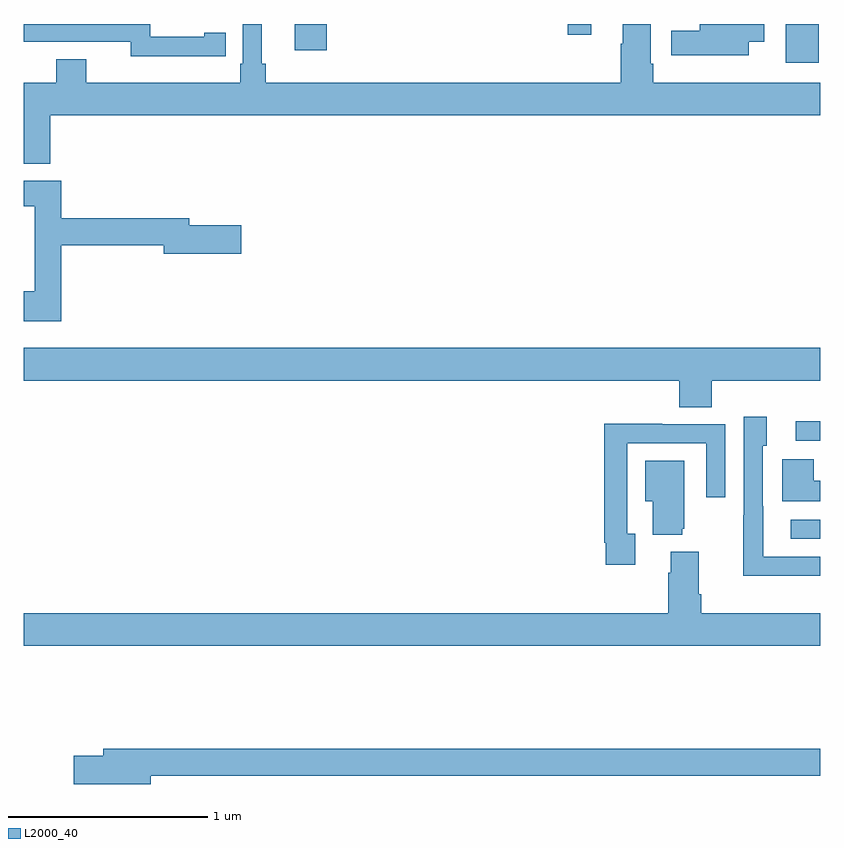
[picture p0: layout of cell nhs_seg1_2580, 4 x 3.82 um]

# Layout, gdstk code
import gdstk
lib = gdstk.Library(unit=1e-6, precision=1e-09)
def R(c, l, rs):  # rectangles x0, y0, x1, y1
    for r in rs: c.add(gdstk.rectangle(r[:2], r[2:], *l))
def P(c, l, *ps):  # polygons
    for p in ps: c.add(gdstk.Polygon(p, *l))
L2000_40 = (2000, 40)

nhs_seg1_2580 = lib.new_cell('nhs_seg1_2580')
R(nhs_seg1_2580, L2000_40, [(254.853,541.614,255,541.71), (254.877,542.106,255,542.204), (254.828,544.005,254.992,544.199), (252.362,544.068,252.521,544.199), (253.732,544.146,253.849,544.199)])
P(nhs_seg1_2580, L2000_40, [(254.641,544.109),(254.719,544.109),(254.719,544.199),(254.394,544.199),(254.394,544.165),(254.253,544.165),(254.253,544.043),(254.641,544.043)],
  [(251.906,544.038),(252.014,544.038),(252.014,544.154),(251.906,544.154),(251.906,544.134),(251.634,544.134),(251.634,544.199),(251,544.199),(251,544.109),(251.078,544.109),(251.078,544.11),(251.538,544.11),(251.538,544.037),(251.906,544.037)],
  [(251.132,543.74),(255,543.74),(255,543.904),(254.162,543.904),(254.162,544),(254.149,544),(254.149,544.199),(254.009,544.199),(254.009,544.1),(253.997,544.1),(253.997,543.904),(252.215,543.904),(252.215,544),(252.196,544),(252.196,544.199),(252.099,544.199),(252.099,544),(252.086,544),(252.086,543.904),(251.314,543.904),(251.314,544.021),(251.162,544.021),(251.162,543.904),(251,543.904),(251,543.497),(251.132,543.497)],
  [(251.189,543.088),(251.702,543.088),(251.702,543.046),(252.091,543.046),(252.091,543.188),(251.83,543.188),(251.83,543.224),(251.189,543.224),(251.189,543.412),(251,543.412),(251,543.284),(251.054,543.284),(251.054,542.857),(251,542.857),(251,542.705),(251.189,542.705)],
  [(254.456,542.408),(255,542.408),(255,542.572),(251,542.572),(251,542.408),(254.291,542.408),(254.291,542.275),(254.456,542.275)],
  [(255,541.524),(254.713,541.524),(254.713,541.778),(254.712,541.778),(254.712,542.082),(254.731,542.082),(254.731,542.227),(254.616,542.227),(254.616,541.733),(254.614,541.733),(254.614,541.427),(255,541.427)],
  [(254.071,541.638),(254.031,541.638),(254.031,542.094),(254.427,542.094),(254.427,541.821),(254.523,541.821),(254.523,542.19),(254.207,542.19),(254.207,542.192),(253.915,542.192),(253.915,541.594),(253.923,541.594),(253.923,541.482),(254.071,541.482)],
  [(255,541.906),(254.967,541.906),(254.967,542.014),(254.81,542.014),(254.81,541.802),(255,541.802)],
  [(254.306,541.665),(254.317,541.665),(254.317,542.005),(254.12,542.005),(254.12,541.802),(254.159,541.802),(254.159,541.634),(254.306,541.634)],
  [(255,541.24),(254.402,541.24),(254.402,541.336),(254.389,541.336),(254.389,541.549),(254.249,541.549),(254.249,541.442),(254.237,541.442),(254.237,541.24),(251,541.24),(251,541.076),(255,541.076)],
  [(251.638,540.424),(255,540.424),(255,540.56),(251.399,540.56),(251.399,540.524),(251.25,540.524),(251.25,540.382),(251.638,540.382)])

lib.write_gds('nhs_seg1_2580.gds')
